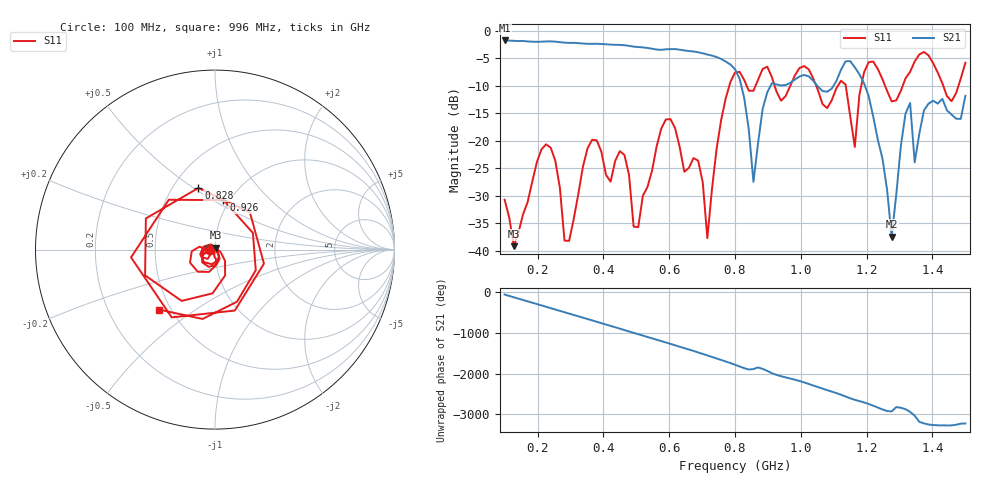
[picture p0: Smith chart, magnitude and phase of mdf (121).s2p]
! NanoVNA-App
! Date: 2025-09-25 17:41:54
! Start: 100MHz Stop: 1,5GHz Points: 101
! S-Parameter data: F S11 S21 S12 S22
# Hz S RI R 50
!  Frequency  S11_Real  S11_Imag  S21_Real  S21_Imag  S12_Real  S12_Imag  S22_Real  S22_Imag
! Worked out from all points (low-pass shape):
!   101 points, 100 MHz to 1.5 GHz, reference 50 ohm
!   highest |S21| = -1.80 dB at 100 MHz (marker M1); lowest = -37.4 dB at 1.276 GHz (marker M2)
!   |S21| within 3 dB of the highest: start of sweep to 743.9 MHz
!   lowest |S11| = -39.1 dB at 128 MHz (marker M3), VSWR 1.02, Z = 50.3 + j1.06 ohm
!   |S11| at or under -10 dB: start of sweep to 782.8 MHz; 920.3 MHz to 968.2 MHz (47.9 MHz wide, 5.07 % of centre); 1.046 GHz to 1.113 GHz (66.46 MHz wide, 6.15 % of centre) (the widest 3 of 7)
!   S12 and S22 are empty: the file has one direction only
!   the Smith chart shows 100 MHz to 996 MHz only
!   S11 on the Smith chart (normalised r, x): 100 MHz: 0.94, -0.01; 828 MHz: 0.67, +0.52; 926 MHz: 0.94, +0.56; 996 MHz: 0.43, -0.37
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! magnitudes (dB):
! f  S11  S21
! 100 MHz  -30.7  -1.8
! 128 MHz  -39.1  -1.9
! 212 MHz  -21.6  -2.0
! 282 MHz  -38.1  -2.2
! 338 MHz  -24.7  -2.4
! 464 MHz  -22.6  -2.7
! 506 MHz  -35.7  -3.0
! 576 MHz  -17.8  -3.5
! 688 MHz  -23.6  -3.9
! 716 MHz  -37.7  -4.4
! 800 MHz  -7.6  -7.0
! 828 MHz  -9.0  -12.2
! 856 MHz  -10.9  -27.5
! 926 MHz  -11.1  -9.8
! 996 MHz  -6.8  -8.3
! 1.038 GHz  -8.7  -9.1
! 1.164 GHz  -21.1  -6.7
! 1.192 GHz  -7.6  -9.6
! 1.276 GHz  -12.9  -37.4
! 1.332 GHz  -7.5  -13.2
! 1.346 GHz  -5.6  -23.9
! 1.5 GHz  -5.9  -11.9
